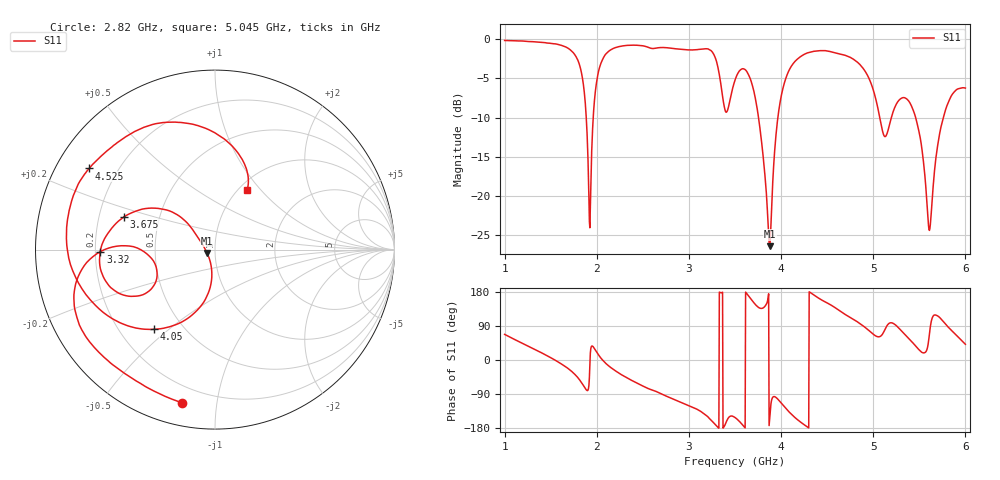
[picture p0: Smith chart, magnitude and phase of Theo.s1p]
!Agilent Technologies,E8364B,MY43040633,A.07.50.37
!Agilent E8364B: A.07.50.37
!Date: Tuesday, December 16, 2025 17:05:50
!Correction: S11(Full 1 Port(1))
!S1P File: Measurement: S11:
# Hz S  RI  R 50
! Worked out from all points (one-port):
!   1001 points, 1 GHz to 6 GHz, reference 50 ohm
!   lowest |S11| = -26.4 dB at 3.875 GHz (marker M1), VSWR 1.10, Z = 45.7 - j1.66 ohm
!   |S11| at or under -10 dB: 3.755 GHz to 3.965 GHz (209.7 MHz wide, 5.43 % of centre); 5.071 GHz to 5.197 GHz (125.8 MHz wide, 2.45 % of centre); 5.46 GHz to 5.761 GHz (300.8 MHz wide, 5.36 % of centre)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
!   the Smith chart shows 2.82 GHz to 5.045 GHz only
!   S11 on the Smith chart (normalised r, x): 2.82 GHz: 0.11, -0.80; 3.32 GHz: 0.22, -0.01; 3.675 GHz: 0.31, +0.16; 4.05 GHz: 0.35, -0.45; 4.525 GHz: 0.10, +0.29; 5.045 GHz: 1.10, +0.84
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1e9  0.3731 0.9059
1.35e9  0.8675 0.41
1.625e9  0.889 -0.1861
1.82e9  0.3837 -0.5399
1.925e9  0.0619 -0.0113
2.02e9  0.609 0.1435
2.25e9  0.7247 -0.529
2.82e9  -0.1827 -0.8533
2.875e9  -0.2627 -0.8241
3.145e9  -0.6478 -0.5712
3.32e9  -0.6382 -0.0109
3.41e9  -0.3246 -0.1135
3.5e9  -0.482 -0.2594
3.675e9  -0.5075 0.1821
3.875e9  -0.0445 -0.0181
3.96e9  -0.0625 -0.2925
4.05e9  -0.3389 -0.4442
4.125e9  -0.5732 -0.3843
4.305e9  -0.8226 0.000206
4.525e9  -0.7015 0.4522
4.75e9  -0.291 0.7076
5.045e9  0.1787 0.3302
5.2e9  -0.0454 0.3181
5.375e9  0.2069 0.3536
5.505e9  0.2208 0.1031
5.61e9  0.0213 0.0567
5.765e9  -0.0585 0.3172
6e9  0.3655 0.3227
